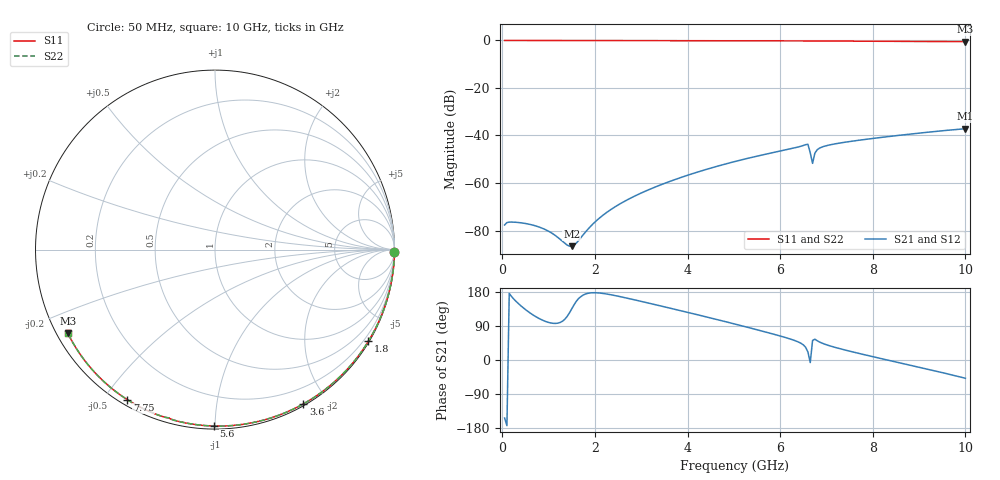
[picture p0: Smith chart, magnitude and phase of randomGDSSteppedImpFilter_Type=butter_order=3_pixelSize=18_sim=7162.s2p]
! freq	dB(S11)	phase(S11)	dB(S12)	phase(S12)
!  dB(S21)	phase(S21)	dB(S22)	phase(S22)
!S-par simulation data
#  GHz  S  DB  R 50
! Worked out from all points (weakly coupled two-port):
!   200 points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, 50 MHz to 10 GHz, reference 50 ohm
!   highest |S21| = -37.15 dB at 10 GHz (marker M1); lowest = -86.6 dB at 1.5 GHz (marker M2)
!   lowest |S11| = -0.5 dB at 10 GHz (marker M3), VSWR 34.23, Z = 1.56 - j13.2 ohm
!   |S11| at or under -10 dB: nowhere
!   |S22| runs from -0.5 to 0.0 dB; largest |S21 - S12| = 0
!   S11 on the Smith chart (normalised r, x): 50 MHz: open; 1.8 GHz: 0.03, -3.62; 3.6 GHz: 0.02, -1.72; 5.6 GHz: 0.02, -0.99; 7.75 GHz: 0.02, -0.57; 10 GHz: 0.03, -0.26
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0.05  -0.00 -0.9  -77.68 -153.2  -77.68 -153.2  -0.00 -0.9
0.1  -0.00 -1.7  -76.66 -173.3  -76.66 -173.3  -0.00 -1.7
0.3  -0.00 -5.2  -76.54 154.4  -76.54 154.4  -0.00 -5.2
0.65  -0.01 -11.3  -77.67 119.9  -77.67 119.9  -0.01 -11.3
1  -0.02 -17.3  -80.30 99.1  -80.30 99.1  -0.02 -17.3
1.5  -0.03 -25.8  -86.59 135.0  -86.59 135.0  -0.03 -25.8
1.75  -0.04 -30.1  -81.72 171.6  -81.72 171.6  -0.04 -30.1
1.8  -0.04 -30.9  -80.54 174.3  -80.54 174.3  -0.04 -30.9
2.15  -0.05 -36.7  -73.93 176.1  -73.93 176.1  -0.05 -36.7
2.45  -0.05 -41.7  -69.85 169.7  -69.85 169.7  -0.05 -41.7
3.4  -0.08 -57.1  -60.93 143.2  -60.93 143.2  -0.08 -57.1
3.6  -0.08 -60.2  -59.45 137.5  -59.45 137.5  -0.08 -60.2
5.05  -0.13 -82.3  -50.82 94.0  -50.82 94.0  -0.13 -82.3
5.6  -0.15 -90.4  -48.26 76.6  -48.26 76.6  -0.15 -90.4
6.6  -0.22 -104.7  -43.71 20.9  -43.71 20.9  -0.22 -104.7
6.7  -0.24 -105.8  -51.73 51.5  -51.73 51.5  -0.24 -105.8
6.75  -0.22 -106.5  -47.42 55.0  -47.42 55.0  -0.22 -106.5
6.85  -0.22 -107.9  -45.33 47.4  -45.33 47.4  -0.22 -107.9
7.1  -0.23 -111.4  -43.84 36.3  -43.84 36.3  -0.23 -111.4
7.75  -0.28 -120.2  -41.87 15.9  -41.87 15.9  -0.28 -120.2
8.35  -0.33 -128.3  -40.42 -1.0  -40.42 -1.0  -0.33 -128.3
10  -0.51 -150.4  -37.15 -48.2  -37.15 -48.2  -0.51 -150.4
